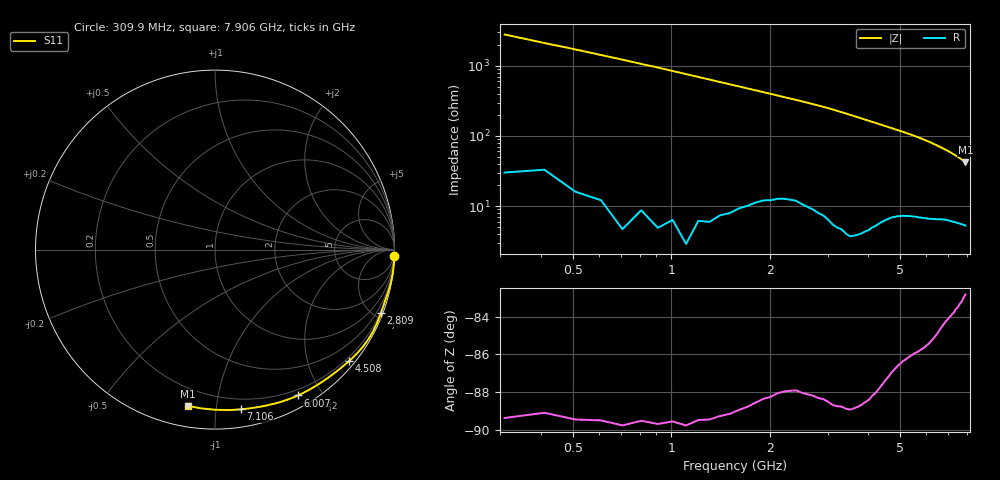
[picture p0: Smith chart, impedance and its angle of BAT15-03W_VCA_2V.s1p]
! Infineon Technologies  Discrete & RF Semiconductors
! BAT15-03W-E6327
! VCA = 2 V
! One-Port S-Parameters
# Hz  S  MA  R  50
!f  S11
!Hz  Mag  Ang
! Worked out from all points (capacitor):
!   77 points, 309.9 MHz to 7.906 GHz, reference 50 ohm
!   read as one part to ground: C = 183 fF near 309.9 MHz
!   lowest |Z| = 42.2 ohm at 7.906 GHz (marker M1)
!   S11 on the Smith chart (normalised r, x): 309.9 MHz: 1, -56; 2.809 GHz: 0.16, -5.44; 4.508 GHz: 0.13, -2.76; 6.007 GHz: 0.13, -1.71; 7.106 GHz: 0.12, -1.17; 7.906 GHz: 0.11, -0.84
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3.0985e8  0.9996 -2.0
9.0955e8  0.9995 -6.0
1.30935e9  0.9986 -9.0
1.70915e9  0.9956 -12.0
2.2089e9  0.9904 -15.8
2.50875e9  0.9894 -18.2
2.8086e9  0.9897 -20.8
2.90855e9  0.9896 -21.7
3.2084e9  0.991 -24.7
3.4083e9  0.9913 -26.8
3.6082e9  0.9905 -29.1
3.8081e9  0.9882 -31.4
4.10795e9  0.9823 -34.9
4.50775e9  0.9712 -39.8
5.10745e9  0.9543 -47.3
5.4073e9  0.9478 -51.3
5.6072e9  0.9437 -54.1
5.8071e9  0.9393 -57.2
6.007e9  0.9345 -60.4
6.2069e9  0.9291 -63.7
6.50675e9  0.9197 -69.1
6.70665e9  0.9128 -72.9
7.0065e9  0.9039 -78.8
7.10645e9  0.9016 -80.9
7.30635e9  0.897 -85.3
7.50625e9  0.8923 -89.9
7.70615e9  0.8881 -94.7
7.90605e9  0.8837 -99.8
